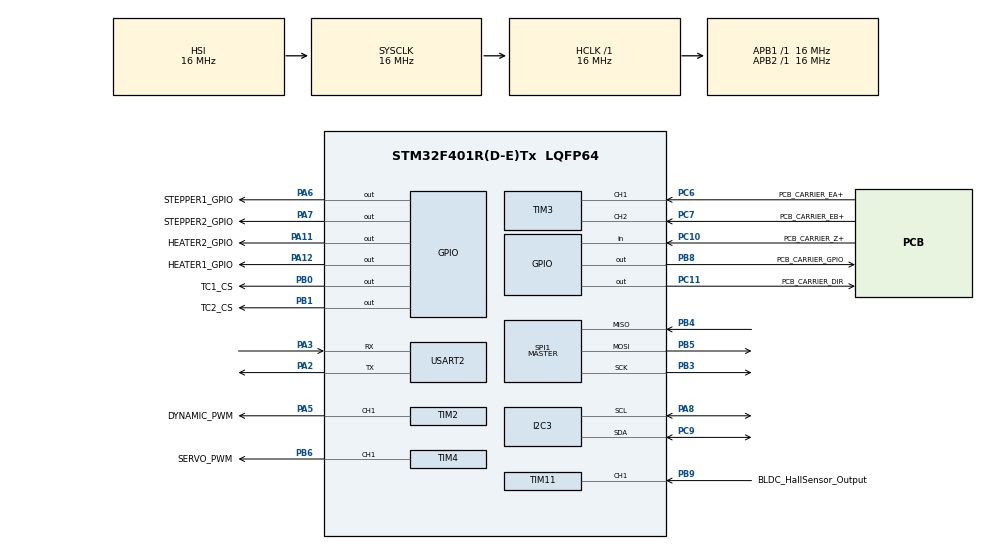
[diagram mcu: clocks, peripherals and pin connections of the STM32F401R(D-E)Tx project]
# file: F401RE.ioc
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FREERTOS.Mutexes01=uartMutex,Dynamic,NULL,Available;spiMutex,Dynamic,NULL,Available
FREERTOS.Queues01=uartRxMessageQueue,16,uart_message_t,0,Dynamic,NULL,NULL;stepperMotorQueue,16,cmd_msg_t,0,Dynamic,NULL,NULL;dynamicMotorQueue,16,cmd_msg_t,0,Dynamic,NULL,NULL;heaterQueue,16,cmd_msg_t,0,Dynamic,NULL,NULL;dataReadQueue,16,cmd_msg_t,0,Dynamic,NULL,NULL;servoMotorQueue,16,cmd_msg_t,0,Dynamic,NULL,NULL;encoderQueue,16,cmd_msg_t,0,Dynamic,NULL,NULL
FREERTOS.Tasks01=HandleUartRxCmdTask,24,512,StartUartRxCmdTask,Default,NULL,Dynamic,NULL,NULL;StepperMotorControlTask,8,512,StartStepperMotorTask,Default,NULL,Dynamic,NULL,NULL;DynamicMotorControlTask,8,512,StartDynamicMotorTask,Default,NULL,Dynamic,NULL,NULL;HeaterControlTask,8,512,StartHeaterTask,Default,NULL,Dynamic,NULL,NULL;DataAcquisitionTask,8,512,StartDataAcquisitionTask,Default,NULL,Dynamic,NULL,NULL;ServoMotorControlTask,8,512,StartServoMotorTask,Default,NULL,Dynamic,NULL,NULL;EncoderTask,8,512,StartEncoderTask,Default,NULL,Dynamic,NULL,NULL
FREERTOS.configMAX_TASK_NAME_LEN=32
FREERTOS.configTOTAL_HEAP_SIZE=30000
Mcu.Family=STM32F4
Mcu.Name=STM32F401R(D-E)Tx
Mcu.Package=LQFP64
NVIC.PriorityGroup=NVIC_PRIORITYGROUP_4
NVIC.TIM1_TRG_COM_TIM11_IRQn=true\:5\:0\:false\:false\:true\:true\:true\:true\:true
NVIC.TIM5_IRQn=true\:15\:0\:false\:false\:true\:false\:false\:true\:true
NVIC.TimeBase=TIM5_IRQn
NVIC.TimeBaseIP=TIM5
NVIC.USART2_IRQn=true\:5\:0\:false\:false\:true\:true\:true\:true\:true
PA11.GPIO_Label=HEATER2_GPIO
PA11.Signal=GPIO_Output
PA12.GPIO_Label=HEATER1_GPIO
PA12.Signal=GPIO_Output
PA2.Mode=Asynchronous
PA2.Signal=USART2_TX
PA3.Mode=Asynchronous
PA3.Signal=USART2_RX
PA5.GPIO_Label=DYNAMIC_PWM
PA5.Signal=S_TIM2_CH1_ETR
PA6.GPIO_Label=STEPPER1_GPIO
PA6.Signal=GPIO_Output
PA7.GPIO_Label=STEPPER2_GPIO
PA7.Signal=GPIO_Output
PA8.Mode=I2C
PA8.Signal=I2C3_SCL
PB0.GPIO_Label=TC1_CS
PB0.PinState=GPIO_PIN_SET
PB0.Signal=GPIO_Output
PB1.GPIO_Label=TC2_CS
PB1.PinState=GPIO_PIN_SET
PB1.Signal=GPIO_Output
PB3.Mode=Full_Duplex_Master
PB3.Signal=SPI1_SCK
PB4.Mode=Full_Duplex_Master
PB4.Signal=SPI1_MISO
PB5.Mode=Full_Duplex_Master
PB5.Signal=SPI1_MOSI
PB6.GPIO_Label=SERVO_PWM
PB6.Signal=S_TIM4_CH1
PB8.GPIO_Label=PCB_CARRIER_GPIO
PB8.Signal=GPIO_Output
PB9.GPIO_Label=BLDC_HallSensor_Output
PB9.Signal=S_TIM11_CH1
PC10.GPIO_Label=PCB_CARRIER_Z+
PC10.Signal=GPIO_Input
PC11.GPIO_Label=PCB_CARRIER_DIR
PC11.Signal=GPIO_Output
PC6.GPIO_Label=PCB_CARRIER_EA+
PC6.Signal=S_TIM3_CH1
PC7.GPIO_Label=PCB_CARRIER_EB+
PC7.Signal=S_TIM3_CH2
PC9.Mode=I2C
PC9.Signal=I2C3_SDA
ProjectManager.HeapSize=0x200
ProjectManager.StackSize=0x400
ProjectManager.TargetToolchain=CMake
RCC.AHBFreq_Value=16000000
RCC.APB1Freq_Value=16000000
RCC.APB2Freq_Value=16000000
RCC.CortexFreq_Value=16000000
RCC.HSE_VALUE=25000000
RCC.HSI_VALUE=16000000
RCC.LSE_VALUE=32768
RCC.SYSCLKFreq_VALUE=16000000
RCC.VCOOutputFreq_Value=192000000
SH.S_TIM11_CH1.0=TIM11_CH1,Input_Capture1_from_TI1
SH.S_TIM2_CH1_ETR.0=TIM2_CH1,PWM Generation1 CH1
SH.S_TIM3_CH1.0=TIM3_CH1,Encoder_Interface
SH.S_TIM3_CH2.0=TIM3_CH2,Encoder_Interface
SH.S_TIM4_CH1.0=TIM4_CH1,PWM Generation1 CH1
SPI1.CLKPhase=SPI_PHASE_2EDGE
SPI1.CLKPolarity=SPI_POLARITY_HIGH
SPI1.Direction=SPI_DIRECTION_2LINES
SPI1.Mode=SPI_MODE_MASTER
SPI1.VirtualType=VM_MASTER
TIM11.Channel=TIM_CHANNEL_1
TIM11.ICFilter_CH1=0x03
TIM11.Prescaler=0
TIM2.Channel-PWM\ Generation1\ CH1=TIM_CHANNEL_1
TIM2.Period=999
TIM2.Prescaler=15
TIM3.AutoReloadPreload=TIM_AUTORELOAD_PRELOAD_ENABLE
TIM3.IC2Filter=10
TIM4.Channel-PWM\ Generation1\ CH1=TIM_CHANNEL_1
USART2.VirtualMode=VM_ASYNC
VP_FREERTOS_VS_CMSIS_V2.Mode=CMSIS_V2
VP_SYS_VS_tim5.Mode=TIM5
VP_TIM10_VS_ClockSourceINT.Mode=Enable_Timer
VP_TIM11_VS_ClockSourceINT.Mode=Enable_Timer
VP_TIM2_VS_ClockSourceINT.Mode=Internal
VP_TIM4_VS_ClockSourceINT.Mode=Internal
board=custom

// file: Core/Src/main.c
/* USER CODE BEGIN Header */
/**
  ******************************************************************************
  * @file           : main.c
  * @brief          : Main program body
  ******************************************************************************
  * @attention
  *
  * Copyright (c) 2026 STMicroelectronics.
  * All rights reserved.
  *
  * This software is licensed under terms that can be found in the LICENSE file
  * in the root directory of this software component.
  * If no LICENSE file comes with this software, it is provided AS-IS.
  *
  ******************************************************************************
  */
/* USER CODE END Header */
#include "main.h"
#include "cmsis_os.h"

/* USER CODE BEGIN Includes */
#include <string.h>
#include <stdio.h>
#include <stdlib.h>
#include "uart.h"
#include "pwm.h"
#include "thermocouple.h"
#include "servo.h"
#include "stepper.h"
#include "encoder.h"
#include "mcp9808.h"
#include "hall_sensor.h"
#include "tip_cleaner.h"
#include "wire_feeder.h"

/* USER CODE END Includes */

/* USER CODE BEGIN PD */
#define linearActuator  0
#define SERVO_ACTION_COMPLETE_FLAG  (1U << 0)
#define CARRIER_SEQUENCE_DIRECTION  0U
#define CARRIER_POSITION_STEPS       445U //445 is for PCB to PCB
#define CARRIER2CARRIER_POSITION_STEPS 440U //435 is for Carrier to Carrier (one half to another half)
#define CARRIER_STEP_PULSE_US          5U
#define CARRIER_STEP_DELAY_US        2000U
#define SOLDER2MOVE_DELAY_MS		1500U
#define MOVE2SOLDER_DELAY_MS		1000U
#define IRON_HEAT_DELAY_MS    10000 //10 seconds for iron to heat up
/* USER CODE END PD */

I2C_HandleTypeDef hi2c3;

SPI_HandleTypeDef hspi1;

TIM_HandleTypeDef htim2;
TIM_HandleTypeDef htim3;
TIM_HandleTypeDef htim4;
TIM_HandleTypeDef htim10;
TIM_HandleTypeDef htim11;

UART_HandleTypeDef huart2;

/* Definitions for HandleUartRxCmdTask */
osThreadId_t HandleUartRxCmdTaskHandle;
const osThreadAttr_t HandleUartRxCmdTask_attributes = {
  .name = "HandleUartRxCmdTask",
  .stack_size = 512 * 4,
  .priority = (osPriority_t) osPriorityNormal,
};
/* Definitions for StepperMotorControlTask */
osThreadId_t StepperMotorControlTaskHandle;
const osThreadAttr_t StepperMotorControlTask_attributes = {
  .name = "StepperMotorControlTask",
  .stack_size = 512 * 4,
  .priority = (osPriority_t) osPriorityLow,
};
/* Definitions for DynamicMotorControlTask */
osThreadId_t DynamicMotorControlTaskHandle;
const osThreadAttr_t DynamicMotorControlTask_attributes = {
  .name = "DynamicMotorControlTask",
  .stack_size = 512 * 4,
  .priority = (osPriority_t) osPriorityLow,
};
/* Definitions for HeaterControlTask */
osThreadId_t HeaterControlTaskHandle;
const osThreadAttr_t HeaterControlTask_attributes = {
  .name = "HeaterControlTask",
  .stack_size = 512 * 4,
  .priority = (osPriority_t) osPriorityLow,
};
/* Definitions for DataAcquisitionTask */
osThreadId_t DataAcquisitionTaskHandle;
const osThreadAttr_t DataAcquisitionTask_attributes = {
  .name = "DataAcquisitionTask",
  .stack_size = 512 * 4,
  .priority = (osPriority_t) osPriorityLow,
};
/* Definitions for ServoMotorControlTask */
osThreadId_t ServoMotorControlTaskHandle;
const osThreadAttr_t ServoMotorControlTask_attributes = {
  .name = "ServoMotorControlTask",
  .stack_size = 512 * 4,
  .priority = (osPriority_t) osPriorityLow,
};
/* Definitions for EncoderTask */
osThreadId_t EncoderTaskHandle;
const osThreadAttr_t EncoderTask_attributes = {
  .name = "EncoderTask",
  .stack_size = 512 * 4,
  .priority = (osPriority_t) osPriorityLow,
};
/* Definitions for uartRxMessageQueue */
osMessageQueueId_t uartRxMessageQueueHandle;
const osMessageQueueAttr_t uartRxMessageQueue_attributes = {
  .name = "uartRxMessageQueue"
};
/* Definitions for stepperMotorQueue */
osMessageQueueId_t stepperMotorQueueHandle;
const osMessageQueueAttr_t stepperMotorQueue_attributes = {
  .name = "stepperMotorQueue"
};
/* Definitions for dynamicMotorQueue */
osMessageQueueId_t dynamicMotorQueueHandle;
const osMessageQueueAttr_t dynamicMotorQueue_attributes = {
  .name = "dynamicMotorQueue"
};
/* Definitions for heaterQueue */
osMessageQueueId_t heaterQueueHandle;
const osMessageQueueAttr_t heaterQueue_attributes = {
  .name = "heaterQueue"
};
/* Definitions for dataReadQueue */
osMessageQueueId_t dataReadQueueHandle;
const osMessageQueueAttr_t dataReadQueue_attributes = {
  .name = "dataReadQueue"
};
/* Definitions for servoMotorQueue */
osMessageQueueId_t servoMotorQueueHandle;
const osMessageQueueAttr_t servoMotorQueue_attributes = {
  .name = "servoMotorQueue"
};
/* Definitions for encoderQueue */
osMessageQueueId_t encoderQueueHandle;
const osMessageQueueAttr_t encoderQueue_attributes = {
  .name = "encoderQueue"
};
/* Definitions for uartMutex */
osMutexId_t uartMutexHandle;
const osMutexAttr_t uartMutex_attributes = {
  .name = "uartMutex"
};
/* Definitions for spiMutex */
osMutexId_t spiMutexHandle;
const osMutexAttr_t spiMutex_attributes = {
  .name = "spiMutex"
};

void SystemClock_Config(void);
static void MX_GPIO_Init(void);
static void MX_USART2_UART_Init(void);
static void MX_TIM2_Init(void);
static void MX_TIM3_Init(void);
static void MX_TIM4_Init(void);
static void MX_SPI1_Init(void);
static void MX_TIM10_Init(void);
static void MX_I2C3_Init(void);
static void MX_TIM11_Init(void);
void StartUartRxCmdTask(void *argument);
void StartStepperMotorTask(void *argument);
void StartDynamicMotorTask(void *argument);
void StartHeaterTask(void *argument);
void StartDataAcquisitionTask(void *argument);
void StartServoMotorTask(void *argument);
void StartEncoderTask(void *argument);

int main(void)
{

  /* MCU Configuration--------------------------------------------------------*/

  /* Reset of all peripherals, Initializes the Flash interface and the Systick. */
  HAL_Init();

  /* Configure the system clock */
  SystemClock_Config();

  /* Initialize all configured peripherals */
  MX_GPIO_Init();
  MX_USART2_UART_Init();
  MX_TIM2_Init();
  MX_TIM3_Init();
  MX_TIM4_Init();
  MX_SPI1_Init();
  MX_TIM10_Init();
  MX_I2C3_Init();
  MX_TIM11_Init();

  /* Init scheduler */
  osKernelInitialize();
  /* Create the mutex(es) */
  /* creation of uartMutex */
  uartMutexHandle = osMutexNew(&uartMutex_attributes);

  /* creation of spiMutex */
  spiMutexHandle = osMutexNew(&spiMutex_attributes);

  /* Create the queue(s) */
  /* creation of uartRxMessageQueue */
  uartRxMessageQueueHandle = osMessageQueueNew (16, sizeof(uart_message_t), &uartRxMessageQueue_attributes);

  /* creation of stepperMotorQueue */
  stepperMotorQueueHandle = osMessageQueueNew (16, sizeof(cmd_msg_t), &stepperMotorQueue_attributes);

  /* creation of dynamicMotorQueue */
  dynamicMotorQueueHandle = osMessageQueueNew (16, sizeof(cmd_msg_t), &dynamicMotorQueue_attributes);

  /* creation of heaterQueue */
  heaterQueueHandle = osMessageQueueNew (16, sizeof(cmd_msg_t), &heaterQueue_attributes);

  /* creation of dataReadQueue */
  dataReadQueueHandle = osMessageQueueNew (16, sizeof(cmd_msg_t), &dataReadQueue_attributes);

  /* creation of servoMotorQueue */
  servoMotorQueueHandle = osMessageQueueNew (16, sizeof(cmd_msg_t), &servoMotorQueue_attributes);

  /* creation of encoderQueue */
  encoderQueueHandle = osMessageQueueNew (16, sizeof(cmd_msg_t), &encoderQueue_attributes);

  /* Create the thread(s) */
  /* creation of HandleUartRxCmdTask */
  HandleUartRxCmdTaskHandle = osThreadNew(StartUartRxCmdTask, NULL, &HandleUartRxCmdTask_attributes);

  /* creation of StepperMotorControlTask */
  StepperMotorControlTaskHandle = osThreadNew(StartStepperMotorTask, NULL, &StepperMotorControlTask_attributes);

  /* creation of DynamicMotorControlTask */
  DynamicMotorControlTaskHandle = osThreadNew(StartDynamicMotorTask, NULL, &DynamicMotorControlTask_attributes);

  /* creation of HeaterControlTask */
  HeaterControlTaskHandle = osThreadNew(StartHeaterTask, NULL, &HeaterControlTask_attributes);

  /* creation of DataAcquisitionTask */
  DataAcquisitionTaskHandle = osThreadNew(StartDataAcquisitionTask, NULL, &DataAcquisitionTask_attributes);

  /* creation of ServoMotorControlTask */
  ServoMotorControlTaskHandle = osThreadNew(StartServoMotorTask, NULL, &ServoMotorControlTask_attributes);

  /* creation of EncoderTask */
  EncoderTaskHandle = osThreadNew(StartEncoderTask, NULL, &EncoderTask_attributes);

  /* Start scheduler */
  osKernelStart();

  /* We should never get here as control is now taken by the scheduler */

  /* Infinite loop */
  while (1)
  {

  }
}

void SystemClock_Config(void)
{
  RCC_OscInitTypeDef RCC_OscInitStruct = {0};
  RCC_ClkInitTypeDef RCC_ClkInitStruct = {0};

  /** Configure the main internal regulator output voltage
  */
  __HAL_RCC_PWR_CLK_ENABLE();
  __HAL_PWR_VOLTAGESCALING_CONFIG(PWR_REGULATOR_VOLTAGE_SCALE2);

  /** Initializes the RCC Oscillators according to the specified parameters
  * in the RCC_OscInitTypeDef structure.
  */
  RCC_OscInitStruct.OscillatorType = RCC_OSCILLATORTYPE_HSI;
  RCC_OscInitStruct.HSIState = RCC_HSI_ON;
  RCC_OscInitStruct.HSICalibrationValue = RCC_HSICALIBRATION_DEFAULT;
  RCC_OscInitStruct.PLL.PLLState = RCC_PLL_NONE;
  if (HAL_RCC_OscConfig(&RCC_OscInitStruct) != HAL_OK)
  {
    Error_Handler();
  }

  /** Initializes the CPU, AHB and APB buses clocks
  */
  RCC_ClkInitStruct.ClockType = RCC_CLOCKTYPE_HCLK|RCC_CLOCKTYPE_SYSCLK
                              |RCC_CLOCKTYPE_PCLK1|RCC_CLOCKTYPE_PCLK2;
  RCC_ClkInitStruct.SYSCLKSource = RCC_SYSCLKSOURCE_HSI;
  RCC_ClkInitStruct.AHBCLKDivider = RCC_SYSCLK_DIV1;
  RCC_ClkInitStruct.APB1CLKDivider = RCC_HCLK_DIV1;
  RCC_ClkInitStruct.APB2CLKDivider = RCC_HCLK_DIV1;

  if (HAL_RCC_ClockConfig(&RCC_ClkInitStruct, FLASH_LATENCY_0) != HAL_OK)
  {
    Error_Handler();
  }
}

static void MX_I2C3_Init(void)
{

  hi2c3.Instance = I2C3;
  hi2c3.Init.ClockSpeed = 100000;
  hi2c3.Init.DutyCycle = I2C_DUTYCYCLE_2;
  hi2c3.Init.OwnAddress1 = 0;
  hi2c3.Init.AddressingMode = I2C_ADDRESSINGMODE_7BIT;
  hi2c3.Init.DualAddressMode = I2C_DUALADDRESS_DISABLE;
  hi2c3.Init.OwnAddress2 = 0;
  hi2c3.Init.GeneralCallMode = I2C_GENERALCALL_DISABLE;
  hi2c3.Init.NoStretchMode = I2C_NOSTRETCH_DISABLE;
  if (HAL_I2C_Init(&hi2c3) != HAL_OK)
  {
    Error_Handler();
  }

}

static void MX_SPI1_Init(void)
{

  /* SPI1 parameter configuration*/
  hspi1.Instance = SPI1;
  hspi1.Init.Mode = SPI_MODE_MASTER;
  hspi1.Init.Direction = SPI_DIRECTION_2LINES;
  hspi1.Init.DataSize = SPI_DATASIZE_8BIT;
  hspi1.Init.CLKPolarity = SPI_POLARITY_HIGH;
  hspi1.Init.CLKPhase = SPI_PHASE_2EDGE;
  hspi1.Init.NSS = SPI_NSS_SOFT;
  hspi1.Init.BaudRatePrescaler = SPI_BAUDRATEPRESCALER_2;
  hspi1.Init.FirstBit = SPI_FIRSTBIT_MSB;
  hspi1.Init.TIMode = SPI_TIMODE_DISABLE;
  hspi1.Init.CRCCalculation = SPI_CRCCALCULATION_DISABLE;
  hspi1.Init.CRCPolynomial = 10;
  if (HAL_SPI_Init(&hspi1) != HAL_OK)
  {
    Error_Handler();
  }

}

static void MX_TIM2_Init(void)
{

  TIM_ClockConfigTypeDef sClockSourceConfig = {0};
  TIM_MasterConfigTypeDef sMasterConfig = {0};
  TIM_OC_InitTypeDef sConfigOC = {0};

  htim2.Instance = TIM2;
  htim2.Init.Prescaler = 15;
  htim2.Init.CounterMode = TIM_COUNTERMODE_UP;
  htim2.Init.Period = 999;
  htim2.Init.ClockDivision = TIM_CLOCKDIVISION_DIV1;
  htim2.Init.AutoReloadPreload = TIM_AUTORELOAD_PRELOAD_DISABLE;
  if (HAL_TIM_Base_Init(&htim2) != HAL_OK)
  {
    Error_Handler();
  }
  sClockSourceConfig.ClockSource = TIM_CLOCKSOURCE_INTERNAL;
  if (HAL_TIM_ConfigClockSource(&htim2, &sClockSourceConfig) != HAL_OK)
  {
    Error_Handler();
  }
  if (HAL_TIM_PWM_Init(&htim2) != HAL_OK)
  {
    Error_Handler();
  }
  sMasterConfig.MasterOutputTrigger = TIM_TRGO_RESET;
  sMasterConfig.MasterSlaveMode = TIM_MASTERSLAVEMODE_DISABLE;
  if (HAL_TIMEx_MasterConfigSynchronization(&htim2, &sMasterConfig) != HAL_OK)
  {
    Error_Handler();
  }
  sConfigOC.OCMode = TIM_OCMODE_PWM1;
  sConfigOC.Pulse = 0;
  sConfigOC.OCPolarity = TIM_OCPOLARITY_HIGH;
  sConfigOC.OCFastMode = TIM_OCFAST_DISABLE;
  if (HAL_TIM_PWM_ConfigChannel(&htim2, &sConfigOC, TIM_CHANNEL_1) != HAL_OK)
  {
    Error_Handler();
  }
  HAL_TIM_MspPostInit(&htim2);

}

static void MX_TIM3_Init(void)
{

  TIM_Encoder_InitTypeDef sConfig = {0};
  TIM_MasterConfigTypeDef sMasterConfig = {0};

  htim3.Instance = TIM3;
  htim3.Init.Prescaler = 0;
  htim3.Init.CounterMode = TIM_COUNTERMODE_UP;
  htim3.Init.Period = 65535;
  htim3.Init.ClockDivision = TIM_CLOCKDIVISION_DIV1;
  htim3.Init.AutoReloadPreload = TIM_AUTORELOAD_PRELOAD_ENABLE;
  sConfig.EncoderMode = TIM_ENCODERMODE_TI1;
  sConfig.IC1Polarity = TIM_ICPOLARITY_RISING;
  sConfig.IC1Selection = TIM_ICSELECTION_DIRECTTI;
  sConfig.IC1Prescaler = TIM_ICPSC_DIV1;
  sConfig.IC1Filter = 0;
  sConfig.IC2Polarity = TIM_ICPOLARITY_RISING;
  sConfig.IC2Selection = TIM_ICSELECTION_DIRECTTI;
  sConfig.IC2Prescaler = TIM_ICPSC_DIV1;
  sConfig.IC2Filter = 10;
  if (HAL_TIM_Encoder_Init(&htim3, &sConfig) != HAL_OK)
  {
    Error_Handler();
  }
  sMasterConfig.MasterOutputTrigger = TIM_TRGO_RESET;
  sMasterConfig.MasterSlaveMode = TIM_MASTERSLAVEMODE_DISABLE;
  if (HAL_TIMEx_MasterConfigSynchronization(&htim3, &sMasterConfig) != HAL_OK)
  {
    Error_Handler();
  }

}

static void MX_TIM4_Init(void)
{

  TIM_ClockConfigTypeDef sClockSourceConfig = {0};
  TIM_MasterConfigTypeDef sMasterConfig = {0};
  TIM_OC_InitTypeDef sConfigOC = {0};

  htim4.Instance = TIM4;
  htim4.Init.Prescaler = 0;
  htim4.Init.CounterMode = TIM_COUNTERMODE_UP;
  htim4.Init.Period = 65535;
  htim4.Init.ClockDivision = TIM_CLOCKDIVISION_DIV1;
  htim4.Init.AutoReloadPreload = TIM_AUTORELOAD_PRELOAD_DISABLE;
  if (HAL_TIM_Base_Init(&htim4) != HAL_OK)
  {
    Error_Handler();
  }
  sClockSourceConfig.ClockSource = TIM_CLOCKSOURCE_INTERNAL;
  if (HAL_TIM_ConfigClockSource(&htim4, &sClockSourceConfig) != HAL_OK)
  {
    Error_Handler();
  }
  if (HAL_TIM_PWM_Init(&htim4) != HAL_OK)
  {
    Error_Handler();
  }
  sMasterConfig.MasterOutputTrigger = TIM_TRGO_RESET;
  sMasterConfig.MasterSlaveMode = TIM_MASTERSLAVEMODE_DISABLE;
  if (HAL_TIMEx_MasterConfigSynchronization(&htim4, &sMasterConfig) != HAL_OK)
  {
    Error_Handler();
  }
  sConfigOC.OCMode = TIM_OCMODE_PWM1;
  sConfigOC.Pulse = 0;
  sConfigOC.OCPolarity = TIM_OCPOLARITY_HIGH;
  sConfigOC.OCFastMode = TIM_OCFAST_DISABLE;
  if (HAL_TIM_PWM_ConfigChannel(&htim4, &sConfigOC, TIM_CHANNEL_1) != HAL_OK)
  {
    Error_Handler();
  }
  HAL_TIM_MspPostInit(&htim4);

}

static void MX_TIM10_Init(void)
{

  htim10.Instance = TIM10;
  htim10.Init.Prescaler = 0;
  htim10.Init.CounterMode = TIM_COUNTERMODE_UP;
  htim10.Init.Period = 65535;
  htim10.Init.ClockDivision = TIM_CLOCKDIVISION_DIV1;
  htim10.Init.AutoReloadPreload = TIM_AUTORELOAD_PRELOAD_DISABLE;
  if (HAL_TIM_Base_Init(&htim10) != HAL_OK)
  {
    Error_Handler();
  }

}

static void MX_TIM11_Init(void)
{

  TIM_IC_InitTypeDef sConfigIC = {0};

  htim11.Instance = TIM11;
  htim11.Init.Prescaler = 159;
  htim11.Init.CounterMode = TIM_COUNTERMODE_UP;
  htim11.Init.Period = 65535;
  htim11.Init.ClockDivision = TIM_CLOCKDIVISION_DIV1;
  htim11.Init.AutoReloadPreload = TIM_AUTORELOAD_PRELOAD_DISABLE;
  if (HAL_TIM_Base_Init(&htim11) != HAL_OK)
  {
    Error_Handler();
  }
  if (HAL_TIM_IC_Init(&htim11) != HAL_OK)
  {
    Error_Handler();
  }
  sConfigIC.ICPolarity = TIM_INPUTCHANNELPOLARITY_RISING;
  sConfigIC.ICSelection = TIM_ICSELECTION_DIRECTTI;
  sConfigIC.ICPrescaler = TIM_ICPSC_DIV1;
  sConfigIC.ICFilter = 0x03;
  if (HAL_TIM_IC_ConfigChannel(&htim11, &sConfigIC, TIM_CHANNEL_1) != HAL_OK)
  {
    Error_Handler();
  }

}

static void MX_USART2_UART_Init(void)
{

  huart2.Instance = USART2;
  huart2.Init.BaudRate = 115200;
  huart2.Init.WordLength = UART_WORDLENGTH_8B;
  huart2.Init.StopBits = UART_STOPBITS_1;
  huart2.Init.Parity = UART_PARITY_NONE;
  huart2.Init.Mode = UART_MODE_TX_RX;
  huart2.Init.HwFlowCtl = UART_HWCONTROL_NONE;
  huart2.Init.OverSampling = UART_OVERSAMPLING_16;
  if (HAL_UART_Init(&huart2) != HAL_OK)
  {
    Error_Handler();
  }

}

static void MX_GPIO_Init(void)
{
  GPIO_InitTypeDef GPIO_InitStruct = {0};

  /* GPIO Ports Clock Enable */
  __HAL_RCC_GPIOA_CLK_ENABLE();
  __HAL_RCC_GPIOB_CLK_ENABLE();
  __HAL_RCC_GPIOC_CLK_ENABLE();

  /*Configure GPIO pin Output Level */
  HAL_GPIO_WritePin(GPIOA, STEPPER1_GPIO_Pin|STEPPER2_GPIO_Pin|HEATER2_GPIO_Pin|HEATER1_GPIO_Pin, GPIO_PIN_RESET);

  /*Configure GPIO pin Output Level */
  HAL_GPIO_WritePin(GPIOB, TC1_CS_Pin|TC2_CS_Pin, GPIO_PIN_SET);

  /*Configure GPIO pin Output Level */
  HAL_GPIO_WritePin(PCB_CARRIER_DIR_GPIO_Port, PCB_CARRIER_DIR_Pin, GPIO_PIN_RESET);

  /*Configure GPIO pin Output Level */
  HAL_GPIO_WritePin(PCB_CARRIER_GPIO_GPIO_Port, PCB_CARRIER_GPIO_Pin, GPIO_PIN_RESET);

  /*Configure GPIO pins : STEPPER1_GPIO_Pin STEPPER2_GPIO_Pin HEATER2_GPIO_Pin HEATER1_GPIO_Pin */
  GPIO_InitStruct.Pin = STEPPER1_GPIO_Pin|STEPPER2_GPIO_Pin|HEATER2_GPIO_Pin|HEATER1_GPIO_Pin;
  GPIO_InitStruct.Mode = GPIO_MODE_OUTPUT_PP;
  GPIO_InitStruct.Pull = GPIO_NOPULL;
  GPIO_InitStruct.Speed = GPIO_SPEED_FREQ_LOW;
  HAL_GPIO_Init(GPIOA, &GPIO_InitStruct);

  /*Configure GPIO pins : TC1_CS_Pin TC2_CS_Pin PCB_CARRIER_GPIO_Pin */
  GPIO_InitStruct.Pin = TC1_CS_Pin|TC2_CS_Pin|PCB_CARRIER_GPIO_Pin;
  GPIO_InitStruct.Mode = GPIO_MODE_OUTPUT_PP;
  GPIO_InitStruct.Pull = GPIO_NOPULL;
  GPIO_InitStruct.Speed = GPIO_SPEED_FREQ_LOW;
  HAL_GPIO_Init(GPIOB, &GPIO_InitStruct);

  /*Configure GPIO pin : PCB_CARRIER_Z__Pin */
  GPIO_InitStruct.Pin = PCB_CARRIER_Z__Pin;
  GPIO_InitStruct.Mode = GPIO_MODE_INPUT;
  GPIO_InitStruct.Pull = GPIO_NOPULL;
  HAL_GPIO_Init(PCB_CARRIER_Z__GPIO_Port, &GPIO_InitStruct);

  /*Configure GPIO pin : PCB_CARRIER_DIR_Pin */
  GPIO_InitStruct.Pin = PCB_CARRIER_DIR_Pin;
  GPIO_InitStruct.Mode = GPIO_MODE_OUTPUT_PP;
  GPIO_InitStruct.Pull = GPIO_NOPULL;
  GPIO_InitStruct.Speed = GPIO_SPEED_FREQ_LOW;
  HAL_GPIO_Init(PCB_CARRIER_DIR_GPIO_Port, &GPIO_InitStruct);

}

/* USER CODE BEGIN 4 */

static osStatus_t queue_physical_action(cmd_t command)
{
  cmd_msg_t action_msg = {
    .cmd = command,
    .value = 0U
  };

  return osMessageQueuePut(
    stepperMotorQueueHandle,
    &action_msg,
    0U,
    0U
  );
}

static osStatus_t request_servo_action(cmd_t command)
{
  cmd_msg_t servo_msg = {
    .cmd = command,
    .value = 0U
  };

  (void)osThreadFlagsClear(SERVO_ACTION_COMPLETE_FLAG);

  if(osMessageQueuePut(servoMotorQueueHandle, &servo_msg, 0U, osWaitForever) != osOK)
  {
    return osError;
  }

  uint32_t flags = osThreadFlagsWait(
    SERVO_ACTION_COMPLETE_FLAG,
    osFlagsWaitAny,
    osWaitForever
  );

  if((flags & osFlagsError) != 0U)
  {
    return osError;
  }

  return ((flags & SERVO_ACTION_COMPLETE_FLAG) != 0U) ? osOK : osError;
}

/* USER CODE END 4 */

void StartUartRxCmdTask(void *argument)
{
  /* USER CODE BEGIN 5 */
  uart_message_t rx_msg;
  cmd_msg_t cmd_msg;

  // Start interrupt-driven reception only after the RTOS queue exists.
  uart_init(&huart2);

  /* Infinite loop */
  for(;;)
  {
    if(osMessageQueueGet(uartRxMessageQueueHandle, &rx_msg, NULL, osWaitForever) == osOK)
    {
      cmd_msg.cmd = CMD_NONE;
      cmd_msg.value = 0;

      /* SYSTEM ON/OFF are intentionally inactive. Operator commands are independent. */

      /* HEATER COMMANDS */

      if(strcmp(rx_msg.command, "HEATER ON") == 0)
      {
        cmd_msg.cmd = CMD_HEATER_ON;

        osMessageQueuePut(heaterQueueHandle, &cmd_msg, 0, 0);
      }

      else if(strcmp(rx_msg.command, "HEATER OFF") == 0)
      {
        cmd_msg.cmd = CMD_HEATER_OFF;

        osMessageQueuePut(heaterQueueHandle, &cmd_msg, 0, 0);
      }

      /* PHYSICAL ACTIONS */
      else if(strcmp(rx_msg.command, "QUARTER MOVE") == 0)
      {
        if(queue_physical_action(CMD_QUARTER_MOVE) != osOK)
        {
        printf("Physical action queue full; QUARTER MOVE not accepted.\n");
        }
      }

      else
      {
        char *end_ptr = NULL;
        long duty = strtol(rx_msg.command, &end_ptr, 10);

        if((end_ptr != rx_msg.command) && (*end_ptr == '\0')
            && (duty >= 0) && (duty <= 255))
        {
          cmd_msg.cmd = CMD_SET_PWM;
          cmd_msg.value = (uint16_t)duty;

          osMessageQueuePut(dynamicMotorQueueHandle, &cmd_msg, 0, 0);
        }
        else
        {
          printf("Unknown command: %s\n", rx_msg.command);
        }
      }
    }
    osDelay(50);

  }
  /* USER CODE END 5 */
}

void StartStepperMotorTask(void *argument)
{
  /* USER CODE BEGIN StartStepperMotorTask */
  cmd_msg_t msg;

  stepper_t stepper1;
  stepper_t stepper2;
  stepper_t stepper3;

  // PA6 and PA7 drive the two wire feeders; PB8 drives the PCB carrier.
  STEPPER_Init(&stepper1, GPIOA, GPIO_PIN_6, NULL, 0);
  STEPPER_Init(&stepper2, GPIOA, GPIO_PIN_7, NULL, 0);
  STEPPER_Init(&stepper3, GPIOB, GPIO_PIN_8, GPIOC, GPIO_PIN_11);

  /* Infinite loop */
  for(;;)
  {
    if(osMessageQueueGet(stepperMotorQueueHandle, &msg, NULL, osWaitForever) == osOK)
    {
    	//Command for doing (Solder, Retract, Move) x2, then Clean, Retract, Move
    	if (msg.cmd == CMD_QUARTER_MOVE)
    	{
    		//Solder, Retract, Move all 2 times
	    	// Needs around 10s to properly heat up
	        HAL_GPIO_WritePin(HEATER1_GPIO_PORT, HEATER1_PIN, GPIO_PIN_SET);
	        HAL_GPIO_WritePin(HEATER2_GPIO_PORT, HEATER2_PIN, GPIO_PIN_SET);
	        osDelay(IRON_HEAT_DELAY_MS);

          // Set PCB Carrier direction
          STEPPER_SetDir(&stepper3, CARRIER_SEQUENCE_DIRECTION);

    	    for (int i = 0; i < 2; i++)
    	    {

    	    	//once iron is hitting pcb, solder
    	        if(request_servo_action(CMD_SERVO_SOLDER) == osOK)
    	        {
    	            WIRE_FEEDER_Run(&stepper1, &stepper2);
    	            osDelay(TIP_SOLDER_DWELL_MS);
    	        }

    	        //once iron is fully retracted, move
    	        if(request_servo_action(CMD_SERVO_RETRACT) == osOK)
    	        {
    	            STEPPER_Step(
    	                &stepper3,
    	                CARRIER_POSITION_STEPS,
    	                CARRIER_STEP_PULSE_US,
    	                CARRIER_STEP_DELAY_US
    	            );
    	        }
    	    }

	        HAL_GPIO_WritePin(HEATER1_GPIO_PORT, HEATER1_PIN, GPIO_PIN_RESET);
	        HAL_GPIO_WritePin(HEATER2_GPIO_PORT, HEATER2_PIN, GPIO_PIN_RESET);

    	    // Clean, retract, move
    	    //once cleaning is done
    	    if(request_servo_action(CMD_TIP_CLEAN) == osOK)
    	    {
    	    	//once iron is fully retracted, move
    	        if(request_servo_action(CMD_SERVO_RETRACT) == osOK)
    	        {
    	            STEPPER_Step(
    	                &stepper3,
						CARRIER2CARRIER_POSITION_STEPS,
    	                CARRIER_STEP_PULSE_US,
    	                CARRIER_STEP_DELAY_US
    	            );
    	        }
    	    }
    	}
    }
  }
  /* USER CODE END StartStepperMotorTask */
}

void StartDynamicMotorTask(void *argument)
{
  /* USER CODE BEGIN StartDynamicMotorTask */
  // Integrates PWM with UART input
  cmd_msg_t msg;
  pwm_t dcMotor;

  pwm_init(&dcMotor, DYNAMIC_MOTOR_PWM_TIMER, DYNAMIC_MOTOR_PWM_CHANNEL);
  pwm_start(&dcMotor);

  /* Infinite loop */
  for(;;)
  {
    if(osMessageQueueGet(dynamicMotorQueueHandle, &msg, NULL, osWaitForever) == osOK)
    {
      if(msg.cmd == CMD_SET_PWM)
      {
        pwm_set(&dcMotor, msg.value);
      }
    }

    osDelay(100);
  }
  /* USER CODE END StartDynamicMotorTask */
}

void StartHeaterTask(void *argument)
{
  /* USER CODE BEGIN StartHeaterTask */
  cmd_msg_t msg;
  /* Infinite loop */
  for(;;)
  {
    if(osMessageQueueGet(heaterQueueHandle, &msg, NULL, osWaitForever) == osOK)
    {
      if(msg.cmd == CMD_HEATER_ON){
        HAL_GPIO_WritePin(HEATER1_GPIO_PORT, HEATER1_PIN, GPIO_PIN_SET);
        HAL_GPIO_WritePin(HEATER2_GPIO_PORT, HEATER2_PIN, GPIO_PIN_SET);
      }

      else if(msg.cmd == CMD_HEATER_OFF){
        HAL_GPIO_WritePin(HEATER1_GPIO_PORT, HEATER1_PIN, GPIO_PIN_RESET);
        HAL_GPIO_WritePin(HEATER2_GPIO_PORT, HEATER2_PIN, GPIO_PIN_RESET);
      }
    }
    osDelay(100);
  }
  /* USER CODE END StartHeaterTask */
}

void StartDataAcquisitionTask(void *argument)
{
  /* USER CODE BEGIN StartDataAcquisitionTask */
  char msg[128];

  max31856_t therm1 = {&hspi1, {TC1_CS_GPIO_Port, TC1_CS_Pin}};
  max31856_init(&therm1);
  max31856_set_noise_filter(&therm1, CR0_FILTER_OUT_50Hz);
  max31856_set_cold_junction_enable(&therm1, CR0_CJ_ENABLED);
  max31856_set_thermocouple_type(&therm1, CR1_TC_TYPE_K);
  max31856_set_average_samples(&therm1, CR1_AVG_TC_SAMPLES_2);
  max31856_set_open_circuit_fault_detection(&therm1, CR0_OC_DETECT_ENABLED_TC_LESS_2ms);
  max31856_set_conversion_mode(&therm1, CR0_CONV_CONTINUOUS);

  max31856_t therm2 = {&hspi1, {TC2_CS_GPIO_Port, TC2_CS_Pin}};
  max31856_init(&therm2);
  max31856_set_noise_filter(&therm2, CR0_FILTER_OUT_50Hz);
  max31856_set_cold_junction_enable(&therm2, CR0_CJ_ENABLED);
  max31856_set_thermocouple_type(&therm2, CR1_TC_TYPE_K);
  max31856_set_average_samples(&therm2, CR1_AVG_TC_SAMPLES_2);
  max31856_set_open_circuit_fault_detection(&therm2, CR0_OC_DETECT_ENABLED_TC_LESS_2ms);
  max31856_set_conversion_mode(&therm2, CR0_CONV_CONTINUOUS);

  // MCP9808 setup
  MCP9808_DEVICE mcp = mcp9808_load_device(0x18);
  mcp.Configuration = 0x0000; // default: continuous conversion, no shutdown
  mcp.Resolution = 0x03;      // 0.0625C resolution
  mcp9808_apply_configuration(&mcp);

  HallSensor_Init(&htim11);

  osDelay(250);

  /* Infinite loop */
  for(;;)
  {

    //Read thermocouple temperature and send over UART
    max31856_read_fault(&therm1);
    max31856_read_fault(&therm2);
    if (therm1.sr.val) {
      /* Handle thermocouple error */
    }
    if (therm2.sr.val) {
      /* Handle thermocouple error */
    }

    // Thermocouples
    osMutexAcquire(spiMutexHandle, osWaitForever);
    float temp1 = max31856_read_TC_temp(&therm1);
    float temp2 = max31856_read_TC_temp(&therm2);
    osMutexRelease(spiMutexHandle);
    snprintf(msg, sizeof(msg), "TC1: %.2f C, TC2: %.2f C\r\n", temp1, temp2);
    uart_tx(msg);

    // External temp sensor, MCP9808
    float boardTemp = mcp9808_get_temp_float(mcp9808_read_temperature(&mcp));
    snprintf(msg, sizeof(msg), "TEMP:%.2f\r\n", boardTemp);
    uart_tx(msg);

    // BLDC Hall Sensor / speed output
    uint32_t counts = HallSensor_GetCounts();
    float rpm = HallSensor_GetRPM();
    float deg = HallSensor_CountsToDegrees(counts);
    snprintf(msg, sizeof(msg), "ENC: %ld counts | %.1f deg | %.1f RPM\r\n", counts, deg, rpm);
    uart_tx(msg);

    osDelay(500);
  }
  /* USER CODE END StartDataAcquisitionTask */
}

void StartServoMotorTask(void *argument)
{
  /* USER CODE BEGIN StartServoMotorTask */
  cmd_msg_t msg;

  SERVO_Init(linearActuator);
  SERVO_MoveTo(linearActuator, TIP_RETRACTED_ANGLE);

  /* Infinite loop */
  for(;;)
  {
    if(osMessageQueueGet(servoMotorQueueHandle, &msg, NULL, osWaitForever) == osOK)
    {
      uint8_t action_complete = 1U;

      if(msg.cmd == CMD_SERVO_SOLDER)
      {
        SERVO_MoveTo(linearActuator, TIP_SOLDER_ANGLE);
        osDelay(TIP_SERVO_MOVE_MS);
      }

      else if(msg.cmd == CMD_TIP_CLEAN)
      {
        TIP_CLEANER_Run(linearActuator);
      }

      else if(msg.cmd == CMD_SERVO_RETRACT)
      {
        SERVO_MoveTo(linearActuator, TIP_RETRACTED_ANGLE);
        osDelay(TIP_SERVO_MOVE_MS);
      }

      else
      {
        action_complete = 0U;
      }

      if(action_complete != 0U)
      {
        (void)osThreadFlagsSet(
          StepperMotorControlTaskHandle,
          SERVO_ACTION_COMPLETE_FLAG
        );
      }
    }
  }
  /* USER CODE END StartServoMotorTask */
}

void StartEncoderTask(void *argument)
{
  /* USER CODE BEGIN StartEncoderTask */
  encoder_t enc1;
  ENCODER_Init(&enc1, &htim3, 2000);  // 4000 CPR from datasheet
  ENCODER_Zero(&enc1);                // start from 0

  char msg[64];

  /* Infinite loop */
  for(;;)
  {
    int32_t counts  = ENCODER_GetCount(&enc1);
    float   degrees = ENCODER_GetDegrees(&enc1);
    float   rpm     = ENCODER_GetRPM(&enc1, 50); // matches osDelay below

    // snprintf(msg, sizeof(msg), "ENC: %ld counts | %.1f deg | %.1f RPM\r\n", counts, degrees, rpm);
    // uart_tx(msg);

    ENCODER_WaitForIndex(&enc1, GPIOC, GPIO_PIN_8);

    osDelay(50);
  }
  /* USER CODE END StartEncoderTask */
}

void HAL_TIM_PeriodElapsedCallback(TIM_HandleTypeDef *htim)
{
  if (htim->Instance == TIM5)
  {
    HAL_IncTick();
  }
}

void Error_Handler(void)
{
  __disable_irq();
  while (1)
  {
  }
}
